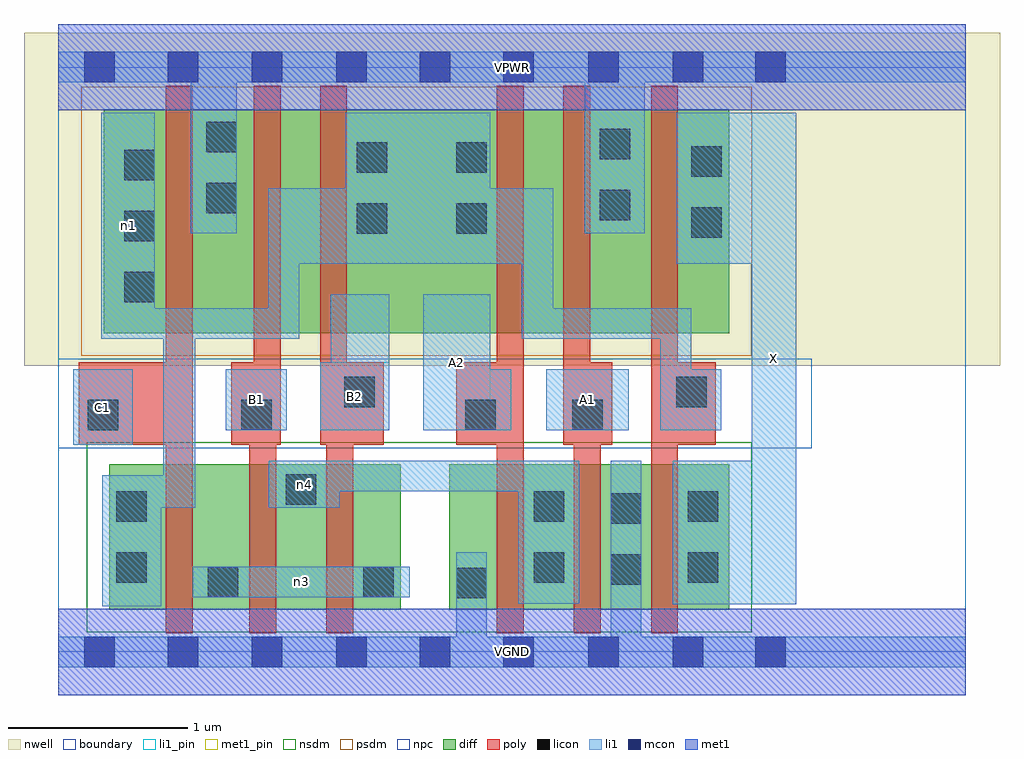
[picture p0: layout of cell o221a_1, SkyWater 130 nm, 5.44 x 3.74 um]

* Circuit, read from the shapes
.subckt o221a_1 A1 A2 B1 B2 C1 VGND VPWR X n1 n3 n4
XM1 n3 C1 n1 VSUBS sky130_fd_pr__nfet_01v8 w=0.81 l=0.15
XM2 n4 B1 n3 VSUBS sky130_fd_pr__nfet_01v8 w=0.81 l=0.15
XM3 n3 B2 n4 VSUBS sky130_fd_pr__nfet_01v8 w=0.81 l=0.15
XM4 n4 A2 VGND VSUBS sky130_fd_pr__nfet_01v8 w=0.81 l=0.15
XM5 VGND A1 n4 VSUBS sky130_fd_pr__nfet_01v8 w=0.81 l=0.15
XM6 X n1 VGND VSUBS sky130_fd_pr__nfet_01v8 w=0.81 l=0.15
XM7 VPWR C1 n1 n2 sky130_fd_pr__pfet_01v8 w=1.25 l=0.15
XM8 n5 B1 VPWR n2 sky130_fd_pr__pfet_01v8 w=1.25 l=0.15
XM9 n1 B2 n5 n2 sky130_fd_pr__pfet_01v8 w=1.25 l=0.15
XM10 n6 A2 n1 n2 sky130_fd_pr__pfet_01v8 w=1.25 l=0.15
XM11 VPWR A1 n6 n2 sky130_fd_pr__pfet_01v8 w=1.25 l=0.15
XM12 X n1 VPWR n2 sky130_fd_pr__pfet_01v8 w=1.25 l=0.15
.ends

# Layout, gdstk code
import gdstk
lib = gdstk.Library(unit=1e-6, precision=1e-09)
def R(c, l, rs):  # rectangles x0, y0, x1, y1
    for r in rs: c.add(gdstk.rectangle(r[:2], r[2:], *l))
def A(c, l, x, y, w, h, nx, ny, dx, dy):  # array of equal rectangles
    R(c, l, [(x+i*dx, y+j*dy, x+i*dx+w, y+j*dy+h) for i in range(nx) for j in range(ny)])
nwell = (64, 20)
diff = (65, 20)
poly = (66, 20)
licon = (66, 44)
li1_pin = (67, 16)
li1 = (67, 20)
mcon = (67, 44)
met1_pin = (68, 16)
met1 = (68, 20)
nsdm = (93, 44)
psdm = (94, 20)
npc = (95, 20)
boundary = (235, 4)

o221a_1 = lib.new_cell('o221a_1')
R(o221a_1, nwell, [(-0.19,1.595,5.25,3.45), (0,1.595,5.06,3.45)])
R(o221a_1, diff, [(0.285,0.235,1.91,1.045), (2.18,0.235,3.74,1.045), (0.255,1.775,3.74,3.025)])
R(o221a_1, poly, [(0.6,0.105,0.75,3.155), (1.065,0.105,1.215,1.615), (1.495,0.105,1.645,1.615), (2.445,0.105,2.595,3.155), (2.875,0.105,3.025,1.615), (3.305,0.105,3.455,3.155), (0.115,1.155,0.75,1.615), (0.965,1.155,1.24,1.615), (1.09,1.155,1.24,3.155), (1.46,1.155,1.61,3.155), (1.46,1.155,1.815,1.615), (2.22,1.155,2.595,1.615), (2.815,1.155,3.09,1.615), (2.815,1.155,2.965,3.155), (3.305,1.155,3.665,1.615)])
A(o221a_1, licon, 0.37, 1.95, 0.17, 0.17, 1, 3, 0, 0.34)
R(o221a_1, licon, [(2.22,0.3,2.39,0.47), (0.835,0.305,1.005,0.475), (1.7,0.305,1.87,0.475), (3.08,0.375,3.25,0.545), (0.325,0.385,0.495,0.555), (2.65,0.385,2.82,0.555), (3.51,0.385,3.68,0.555), (3.08,0.715,3.25,0.885), (0.325,0.725,0.495,0.895), (2.65,0.725,2.82,0.895), (3.51,0.725,3.68,0.895), (1.27,0.82,1.44,0.99), (0.165,1.235,0.335,1.405), (1.02,1.235,1.19,1.405), (2.27,1.235,2.44,1.405), (2.865,1.235,3.035,1.405), (1.595,1.365,1.765,1.535), (3.445,1.365,3.615,1.535), (3.53,2.31,3.7,2.48), (1.665,2.33,1.835,2.5), (2.22,2.33,2.39,2.5), (3.02,2.405,3.19,2.575), (0.825,2.445,0.995,2.615), (3.53,2.65,3.7,2.82), (1.665,2.67,1.835,2.84), (2.22,2.67,2.39,2.84), (3.02,2.745,3.19,2.915), (0.825,2.785,0.995,2.955)])
R(o221a_1, li1_pin, [(3.865,0.265,4.115,3.005), (0.085,1.155,0.415,1.575), (0.935,1.235,1.275,1.575), (1.46,1.235,1.845,1.615), (2.035,1.235,2.41,1.995), (2.72,1.235,3.18,1.575)])
R(o221a_1, li1, [(0,-0.085,5.06,0.085), (2.22,-0.085,2.39,0.555), (3.08,-0.085,3.25,1.065), (0.245,0.255,0.575,0.985), (3.425,0.265,4.115,1.065), (3.865,0.265,4.115,3.005), (2.565,0.27,2.905,1.065), (0.75,0.305,1.96,0.475), (0.245,0.805,0.765,0.985), (0.585,0.805,0.765,1.915), (1.175,0.805,1.57,1.065), (1.175,0.895,2.905,1.065), (0.085,1.155,0.415,1.575), (0.935,1.235,1.275,1.575), (1.46,1.235,1.845,1.615), (1.52,1.235,1.845,1.995), (2.035,1.235,2.41,1.995), (2.035,1.235,2.525,1.575), (2.72,1.235,3.18,1.575), (3.355,1.235,3.695,1.575), (3.355,1.235,3.53,1.915), (0.24,1.745,0.54,3.005), (0.24,1.745,1.345,1.915), (1.17,1.745,1.345,2.585), (2.585,1.745,2.76,2.585), (2.585,1.745,3.53,1.915), (1.17,2.165,2.76,2.585), (1.6,2.165,2.41,3.005), (3.445,2.165,4.115,3.005), (0.74,2.335,0.995,3.345), (2.935,2.335,3.27,3.345), (0,3.175,5.06,3.345)])
A(o221a_1, mcon, 0.61, -0.085, 0.17, 0.17, 3, 2, 0.47, 3.26)
R(o221a_1, mcon, [(0.145,-0.085,0.315,0.085), (2.015,-0.085,2.185,0.085), (2.48,-0.085,2.65,0.085), (2.955,-0.085,3.125,0.085), (3.425,-0.085,3.595,0.085), (3.885,-0.085,4.055,0.085), (0.145,3.175,0.315,3.345), (2.015,3.175,2.185,3.345), (2.48,3.175,2.65,3.345), (2.955,3.175,3.125,3.345), (3.425,3.175,3.595,3.345), (3.885,3.175,4.055,3.345)])
R(o221a_1, met1_pin, [(0,-0.24,5.06,0.24), (0,3.02,5.06,3.5)])
R(o221a_1, met1, [(0,-0.24,5.06,0.24), (0,3.02,5.06,3.5)])
R(o221a_1, nsdm, [(0.16,0.11,3.865,1.17)])
R(o221a_1, psdm, [(0.13,1.65,3.865,3.15)])
R(o221a_1, npc, [(0,1.135,4.2,1.635)])
R(o221a_1, boundary, [(0,0,5.06,3.26)])
o221a_1.add(gdstk.Label('A1', (2.95,1.405), layer=67, texttype=5))
o221a_1.add(gdstk.Label('A2', (2.222,1.615), layer=67, texttype=5))
o221a_1.add(gdstk.Label('B1', (1.105,1.405), layer=67, texttype=5))
o221a_1.add(gdstk.Label('B2', (1.652,1.425), layer=67, texttype=5))
o221a_1.add(gdstk.Label('C1', (0.25,1.365), layer=67, texttype=5))
o221a_1.add(gdstk.Label('X', (3.99,1.635), layer=67, texttype=5))
o221a_1.add(gdstk.Label('n3', (1.355,0.39), layer=67, texttype=5))
o221a_1.add(gdstk.Label('n4', (1.372,0.935), layer=67, texttype=5))
o221a_1.add(gdstk.Label('n1', (0.39,2.375), layer=67, texttype=5))
o221a_1.add(gdstk.Label('VPWR', (2.53,3.26), layer=68, texttype=5))
o221a_1.add(gdstk.Label('VGND', (2.53,0), layer=68, texttype=5))
o221a_1.add(gdstk.Label('A1', (2.95,1.405), layer=67, texttype=16))
o221a_1.add(gdstk.Label('A2', (2.222,1.615), layer=67, texttype=16))
o221a_1.add(gdstk.Label('B1', (1.105,1.405), layer=67, texttype=16))
o221a_1.add(gdstk.Label('B2', (1.652,1.425), layer=67, texttype=16))
o221a_1.add(gdstk.Label('C1', (0.25,1.365), layer=67, texttype=16))
o221a_1.add(gdstk.Label('X', (3.99,1.635), layer=67, texttype=16))
o221a_1.add(gdstk.Label('VPWR', (2.53,3.26), layer=68, texttype=16))
o221a_1.add(gdstk.Label('VGND', (2.53,0), layer=68, texttype=16))

lib.write_gds('o221a_1.gds')
